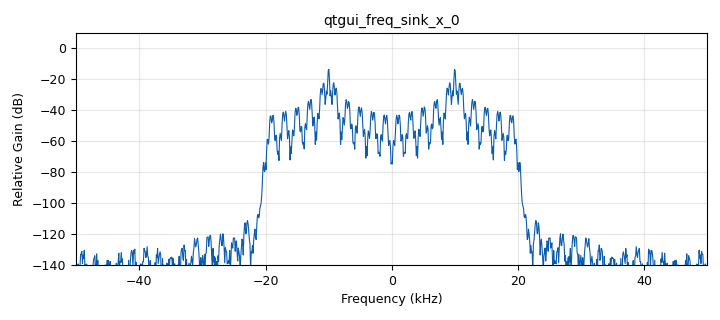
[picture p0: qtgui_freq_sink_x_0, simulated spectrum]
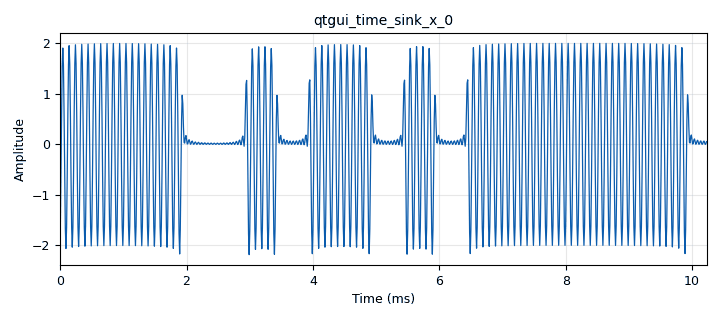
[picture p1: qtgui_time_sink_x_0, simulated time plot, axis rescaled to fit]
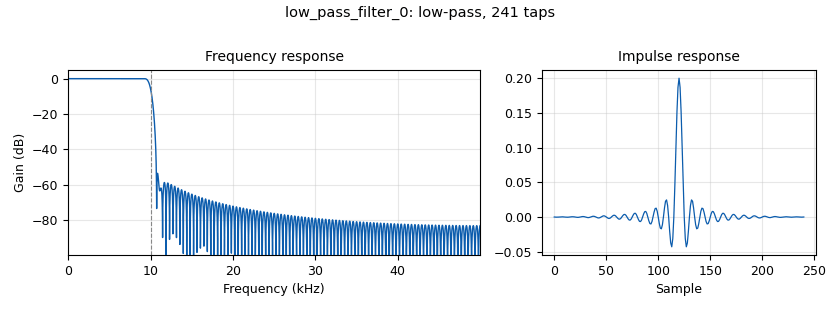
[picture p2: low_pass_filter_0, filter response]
<?xml version='1.0' encoding='utf-8'?>
<?grc format='1' created='3.7.11'?>
<flow_graph>
<block>
<key>options</key>
<param><key>id</key><value>top_block</value></param>
<param><key>generate_options</key><value>qt_gui</value></param>
</block>
<block>
<key>variable_qtgui_range</key>
<param><key>id</key><value>carrier_freq</value></param>
<param><key>value</key><value>10e3</value></param>
<param><key>orient</key><value>Qt.Horizontal</value></param>
<param><key>start</key><value>0</value></param>
<param><key>step</key><value>1</value></param>
<param><key>stop</key><value>50e3</value></param>
</block>
<block>
<key>variable_qtgui_range</key>
<param><key>id</key><value>carrier_shift</value></param>
<param><key>value</key><value>0</value></param>
<param><key>orient</key><value>Qt.Horizontal</value></param>
<param><key>start</key><value>0</value></param>
<param><key>step</key><value>0.1</value></param>
<param><key>stop</key><value>1</value></param>
</block>
<block>
<key>variable_qtgui_range</key>
<param><key>id</key><value>data_rate</value></param>
<param><key>value</key><value>2e3</value></param>
<param><key>orient</key><value>Qt.Horizontal</value></param>
<param><key>start</key><value>0</value></param>
<param><key>step</key><value>100</value></param>
<param><key>stop</key><value>10e3</value></param>
</block>
<block>
<key>variable</key>
<param><key>id</key><value>samp_rate</value></param>
<param><key>value</key><value>100e3</value></param>
</block>
<block>
<key>analog_noise_source_x</key>
<param><key>id</key><value>analog_noise_source_x_0</value></param>
<param><key>amp</key><value>1</value></param>
<param><key>noise_type</key><value>analog.GR_UNIFORM</value></param>
<param><key>type</key><value>float</value></param>
<param><key>seed</key><value>0</value></param>
</block>
<block>
<key>analog_sig_source_x</key>
<param><key>id</key><value>analog_sig_source_x_0</value></param>
<param><key>amp</key><value>2</value></param>
<param><key>freq</key><value>carrier_freq</value></param>
<param><key>offset</key><value>0</value></param>
<param><key>type</key><value>float</value></param>
<param><key>samp_rate</key><value>samp_rate</value></param>
<param><key>waveform</key><value>analog.GR_COS_WAVE</value></param>
</block>
<block>
<key>blocks_add_const_vxx</key>
<param><key>id</key><value>blocks_add_const_vxx_0</value></param>
<param><key>const</key><value>carrier_shift</value></param>
<param><key>type</key><value>float</value></param>
</block>
<block>
<key>blocks_multiply_xx</key>
<param><key>id</key><value>blocks_multiply_xx_0</value></param>
<param><key>type</key><value>float</value></param>
</block>
<block>
<key>blocks_repeat</key>
<param><key>id</key><value>blocks_repeat_0</value></param>
<param><key>interp</key><value>int(samp_rate/data_rate)</value></param>
<param><key>type</key><value>float</value></param>
</block>
<block>
<key>blocks_threshold_ff</key>
<param><key>id</key><value>blocks_threshold_ff_0</value></param>
<param><key>high</key><value>0</value></param>
<param><key>init</key><value>0</value></param>
<param><key>low</key><value>0</value></param>
</block>
<block>
<key>low_pass_filter</key>
<param><key>id</key><value>low_pass_filter_0</value></param>
<param><key>cutoff_freq</key><value>10e3</value></param>
<param><key>decim</key><value>1</value></param>
<param><key>type</key><value>fir_filter_fff</value></param>
<param><key>gain</key><value>1</value></param>
<param><key>samp_rate</key><value>samp_rate</value></param>
<param><key>width</key><value>1e3</value></param>
<param><key>win</key><value>firdes.WIN_HAMMING</value></param>
</block>
<block>
<key>qtgui_freq_sink_x</key>
<param><key>id</key><value>qtgui_freq_sink_x_0</value></param>
<param><key>bw</key><value>samp_rate</value></param>
<param><key>fc</key><value>0</value></param>
<param><key>fftsize</key><value>1024</value></param>
<param><key>showports</key><value>True</value></param>
<param><key>type</key><value>float</value></param>
<param><key>wintype</key><value>firdes.WIN_BLACKMAN_hARRIS</value></param>
</block>
<block>
<key>qtgui_freq_sink_x</key>
<param><key>id</key><value>qtgui_freq_sink_x_0_0</value></param>
<param><key>bw</key><value>samp_rate</value></param>
<param><key>fc</key><value>0</value></param>
<param><key>_enabled</key><value>0</value></param>
<param><key>fftsize</key><value>1024</value></param>
<param><key>showports</key><value>True</value></param>
<param><key>type</key><value>float</value></param>
<param><key>wintype</key><value>firdes.WIN_BLACKMAN_hARRIS</value></param>
</block>
<block>
<key>qtgui_time_sink_x</key>
<param><key>id</key><value>qtgui_time_sink_x_0</value></param>
<param><key>color1</key><value>"blue"</value></param>
<param><key>label1</key><value></value></param>
<param><key>size</key><value>1024</value></param>
<param><key>srate</key><value>samp_rate</value></param>
<param><key>type</key><value>float</value></param>
</block>
<connection><source_block_id>analog_noise_source_x_0</source_block_id><sink_block_id>blocks_threshold_ff_0</sink_block_id><source_key>0</source_key><sink_key>0</sink_key></connection>
<connection><source_block_id>analog_sig_source_x_0</source_block_id><sink_block_id>blocks_multiply_xx_0</sink_block_id><source_key>0</source_key><sink_key>1</sink_key></connection>
<connection><source_block_id>blocks_add_const_vxx_0</source_block_id><sink_block_id>blocks_multiply_xx_0</sink_block_id><source_key>0</source_key><sink_key>0</sink_key></connection>
<connection><source_block_id>blocks_add_const_vxx_0</source_block_id><sink_block_id>qtgui_freq_sink_x_0_0</sink_block_id><source_key>0</source_key><sink_key>0</sink_key></connection>
<connection><source_block_id>blocks_multiply_xx_0</source_block_id><sink_block_id>qtgui_freq_sink_x_0</sink_block_id><source_key>0</source_key><sink_key>0</sink_key></connection>
<connection><source_block_id>blocks_multiply_xx_0</source_block_id><sink_block_id>qtgui_time_sink_x_0</sink_block_id><source_key>0</source_key><sink_key>0</sink_key></connection>
<connection><source_block_id>blocks_repeat_0</source_block_id><sink_block_id>low_pass_filter_0</sink_block_id><source_key>0</source_key><sink_key>0</sink_key></connection>
<connection><source_block_id>blocks_threshold_ff_0</source_block_id><sink_block_id>blocks_repeat_0</sink_block_id><source_key>0</source_key><sink_key>0</sink_key></connection>
<connection><source_block_id>low_pass_filter_0</source_block_id><sink_block_id>blocks_add_const_vxx_0</sink_block_id><source_key>0</source_key><sink_key>0</sink_key></connection>
</flow_graph>
